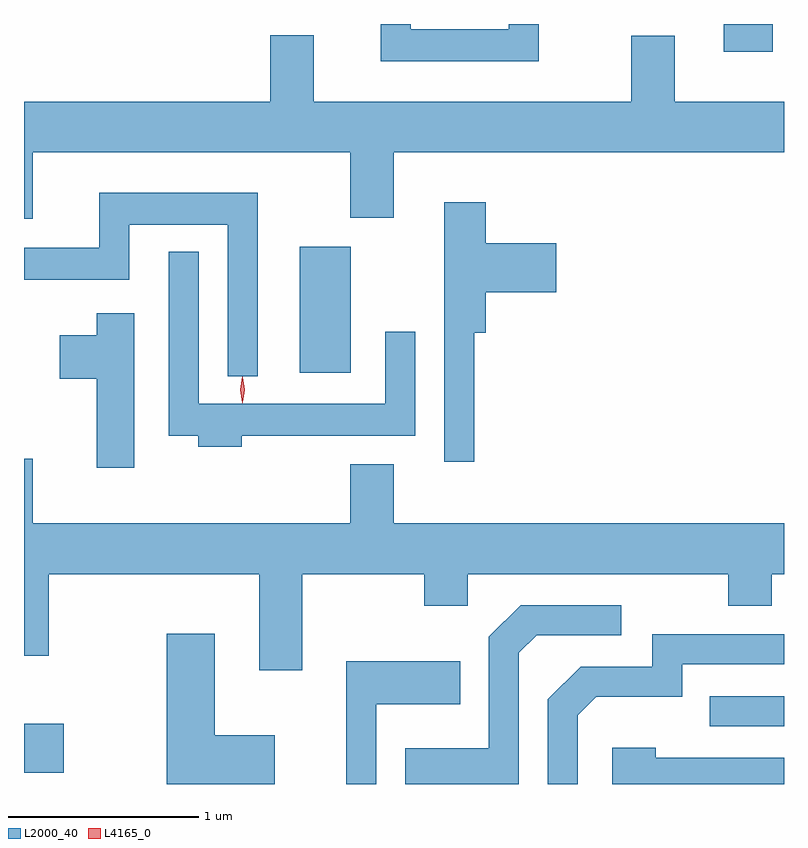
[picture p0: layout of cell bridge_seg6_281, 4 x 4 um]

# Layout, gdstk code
import gdstk
lib = gdstk.Library(unit=1e-6, precision=1e-09)
def R(c, l, rs):  # rectangles x0, y0, x1, y1
    for r in rs: c.add(gdstk.rectangle(r[:2], r[2:], *l))
def P(c, l, *ps):  # polygons
    for p in ps: c.add(gdstk.Polygon(p, *l))
L2000_40 = (2000, 40)
L4165_0 = (4165, 0)

bridge_seg6_281 = lib.new_cell('bridge_seg6_281')
R(bridge_seg6_281, L2000_40, [(1259.054,1542.331,1259.264,1542.589), (1262.663,1542.576,1263.054,1542.734), (1260.506,1544.436,1260.774,1545.099), (1262.736,1546.126,1262.994,1546.272)])
P(bridge_seg6_281, L2000_40, [(1261.764,1546.272),(1261.606,1546.272),(1261.606,1546.244),(1261.089,1546.244),(1261.089,1546.272),(1260.931,1546.272),(1260.931,1546.076),(1261.764,1546.076)],
  [(1259.099,1545.596),(1260.771,1545.596),(1260.771,1545.251),(1260.999,1545.251),(1260.999,1545.596),(1263.054,1545.596),(1263.054,1545.864),(1262.479,1545.864),(1262.479,1546.209),(1262.251,1546.209),(1262.251,1545.864),(1260.579,1545.864),(1260.579,1546.214),(1260.351,1546.214),(1260.351,1545.864),(1259.054,1545.864),(1259.054,1545.246),(1259.099,1545.246)],
  [(1260.284,1545.384),(1259.451,1545.384),(1259.451,1545.094),(1259.054,1545.094),(1259.054,1544.926),(1259.609,1544.926),(1259.609,1545.216),(1260.126,1545.216),(1260.126,1544.418),(1260.284,1544.418)],
  [(1261.424,1544.646),(1261.484,1544.646),(1261.484,1544.861),(1261.854,1544.861),(1261.854,1545.119),(1261.484,1545.119),(1261.484,1545.334),(1261.266,1545.334),(1261.266,1543.968),(1261.424,1543.968)],
  [(1260.199,1544.106),(1261.114,1544.106),(1261.114,1544.653),(1260.956,1544.653),(1260.956,1544.274),(1259.974,1544.274),(1259.974,1545.073),(1259.816,1545.073),(1259.816,1544.106),(1259.971,1544.106),(1259.971,1544.046),(1260.199,1544.046)],
  [(1259.634,1544.749),(1259.436,1544.749),(1259.436,1544.634),(1259.241,1544.634),(1259.241,1544.406),(1259.436,1544.406),(1259.436,1543.936),(1259.634,1543.936)],
  [(1259.099,1543.984),(1259.054,1543.984),(1259.054,1542.948),(1259.184,1542.948),(1259.184,1543.376),(1260.291,1543.376),(1260.291,1542.871),(1260.519,1542.871),(1260.519,1543.376),(1261.161,1543.376),(1261.161,1543.211),(1261.389,1543.211),(1261.389,1543.376),(1262.761,1543.376),(1262.761,1543.211),(1262.989,1543.211),(1262.989,1543.376),(1263.054,1543.376),(1263.054,1543.644),(1260.999,1543.644),(1260.999,1543.954),(1260.771,1543.954),(1260.771,1543.644),(1259.099,1543.644)],
  [(1261.659,1542.964),(1261.752,1543.056),(1262.198,1543.056),(1262.198,1543.214),(1261.669,1543.214),(1261.501,1543.047),(1261.501,1542.459),(1261.061,1542.459),(1261.061,1542.272),(1261.659,1542.272)],
  [(1260.374,1542.529),(1260.059,1542.529),(1260.059,1543.064),(1259.806,1543.064),(1259.806,1542.272),(1260.374,1542.272)],
  [(1261.969,1542.634),(1262.067,1542.731),(1262.519,1542.731),(1262.519,1542.901),(1263.054,1542.901),(1263.054,1543.059),(1262.361,1543.059),(1262.361,1542.889),(1261.984,1542.889),(1261.811,1542.717),(1261.811,1542.272),(1261.969,1542.272)],
  [(1260.909,1542.691),(1261.349,1542.691),(1261.349,1542.919),(1260.751,1542.919),(1260.751,1542.272),(1260.909,1542.272)],
  [(1263.054,1542.409),(1262.379,1542.409),(1262.379,1542.464),(1262.151,1542.464),(1262.151,1542.272),(1263.054,1542.272)])
P(bridge_seg6_281, L4165_0, [(1260.203,1544.277),(1260.202,1544.278),(1260.193,1544.347),(1260.202,1544.416),(1260.203,1544.416),(1260.204,1544.416),(1260.213,1544.347),(1260.204,1544.278)],
  [(1260.205,1544.28),(1260.196,1544.346),(1260.205,1544.412),(1260.206,1544.413),(1260.206,1544.412),(1260.215,1544.346),(1260.206,1544.28),(1260.206,1544.28)])

lib.write_gds('bridge_seg6_281.gds')
